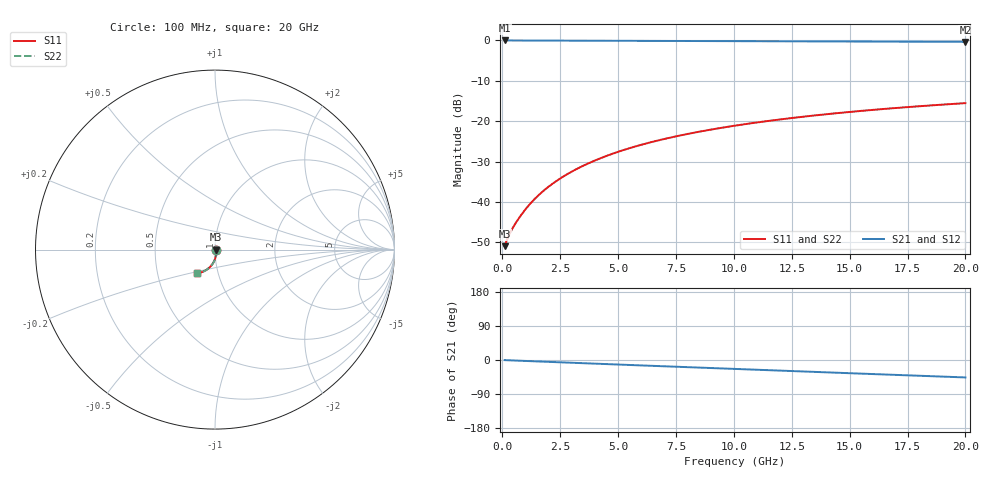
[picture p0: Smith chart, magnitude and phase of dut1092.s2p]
! Touchstone file exported from HFSS 2026.1.0
!  File:  C:/ffzhzh/LocalFiles/Ansys_Project_Files/temp_train_BSMRDL_1092_1783174615_22436.aedt
!  Generated:  10:18:16 PM Jul  4, 2026
!  Design:  BSMRDL
!  Project:  temp_train_BSMRDL_1092_1783174615_22436
! Variables:
!  h_bsmrdl = 5.98um
!  h_ox = 20um
!  h_rdl = 5um
!  h_sub = 80um
!  h_tmrdl = 5um
!  h_tsv = 80um
!  h_via = 3um
!  l_bsmrdl = 821.45um
!  l_sub = 1221.45um
!  l_tmrdl = 200um
!  m_sub = 200um
!  pitch = 22.79um
!  r_tsv = 6um
!  s_tmrdl = 10um
!  w_bsmrdl = 19.62um
!  w_sub = 500um
!  w_tmrdl = 12um
!  x_tsv_center1 = 206um
!  x_tsv_center2 = 1047.07um
!  x_tsv_center3 = 1259.07um
!  x_tsv_center4 = 2100.14um
!  x_tsv_center5 = 2312.14um
!  x_tsv_center6 = 3153.21um
# GHz S MA R 50.000000
! Terminal data exported
! Port[1] = BSM_RDL1_1_T1
! Port[2] = BSM_RDL1_1_T2
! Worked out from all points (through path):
!   200 points, 100 MHz to 20 GHz, reference 50 ohm
!   highest |S21| = -0.02 dB at 100 MHz (marker M1); lowest = -0.4 dB at 20 GHz (marker M2)
!   group delay of S21, straight-line fit = 6.36 ps
!   lowest |S11| = -51.0 dB at 100 MHz (marker M3), VSWR 1.01, Z = 50.3 + j0.00249 ohm
!   |S11| at or under -10 dB: start of sweep to end of sweep
!   |S22| runs from -51.0 to -15.6 dB; largest |S21 - S12| = 4.3e-14
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0.1  0.002831 0.5  0.9972 -0.3  0.9972 -0.3  0.002831 0.5
! Gamma 0 0 0 0
! Port Impedance 50 0 50 0
0.2  0.003389 -6.5  0.9966 -0.6  0.9966 -0.6  0.003389 -6.5
0.3  0.00394 -15.9  0.9962 -0.8  0.9962 -0.8  0.00394 -15.9
0.4  0.004476 -24.7  0.9959 -1.0  0.9959 -1.0  0.004476 -24.7
0.6  0.005591 -38.3  0.9955 -1.5  0.9955 -1.5  0.005591 -38.3
0.8  0.006802 -47.7  0.9952 -2.0  0.9952 -2.0  0.006801 -47.7
1  0.008098 -54.3  0.995 -2.5  0.995 -2.5  0.008097 -54.3
1.4  0.01089 -62.7  0.9944 -3.5  0.9944 -3.5  0.01089 -62.7
1.8  0.01388 -67.9  0.9937 -4.4  0.9937 -4.4  0.01388 -67.9
2.3  0.01784 -72.2  0.9928 -5.6  0.9928 -5.6  0.01784 -72.2
2.9  0.02286 -76.0  0.9915 -7.1  0.9915 -7.1  0.02285 -76.1
3.5  0.02809 -79.1  0.9903 -8.5  0.9903 -8.5  0.02808 -79.2
4.2  0.03437 -82.3  0.9889 -10.1  0.9889 -10.1  0.03436 -82.3
5  0.04169 -85.5  0.9873 -12.0  0.9873 -12.0  0.04168 -85.6
5.9  0.05001 -88.9  0.9855 -14.1  0.9855 -14.1  0.05 -88.9
6.8  0.05834 -92.0  0.9839 -16.2  0.9839 -16.2  0.05832 -92.1
8.3  0.07212 -96.8  0.9811 -19.6  0.9811 -19.6  0.0721 -96.9
10.1  0.08836 -102.2  0.9778 -23.7  0.9778 -23.7  0.08833 -102.2
11.7  0.1024 -106.6  0.9748 -27.4  0.9748 -27.4  0.1024 -106.7
13.4  0.1169 -111.1  0.9714 -31.2  0.9714 -31.2  0.1168 -111.2
16.7  0.1432 -119.5  0.9647 -38.7  0.9647 -38.7  0.1432 -119.6
20  0.1669 -127.5  0.9577 -46.0  0.9577 -46.0  0.1669 -127.6
